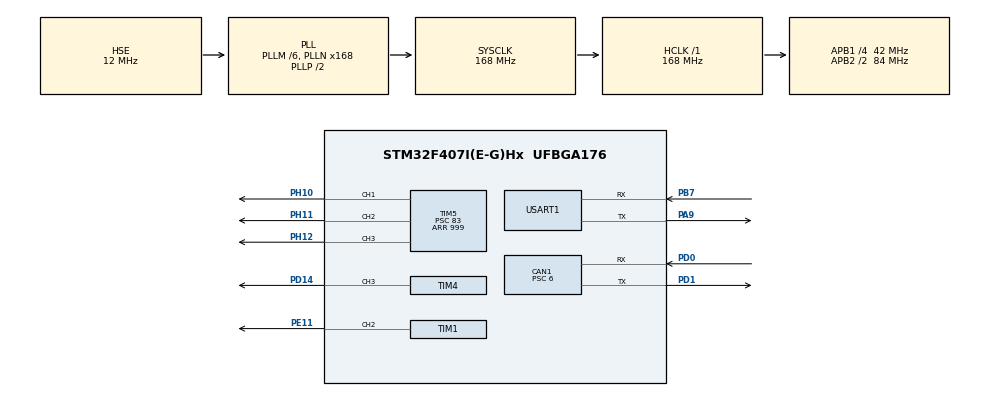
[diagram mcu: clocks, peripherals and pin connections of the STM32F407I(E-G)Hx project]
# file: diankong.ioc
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CAN1.BS1=CAN_BS1_4TQ
CAN1.BS2=CAN_BS2_2TQ
CAN1.CalculateBaudRate=1000000
CAN1.CalculateTimeBit=1000
CAN1.CalculateTimeQuantum=142.85714285714286
CAN1.Prescaler=6
Dma.Request0=USART1_RX
Dma.Request1=USART1_TX
Dma.USART1_RX.0.Direction=DMA_PERIPH_TO_MEMORY
Dma.USART1_RX.0.FIFOMode=DMA_FIFOMODE_DISABLE
Dma.USART1_RX.0.Instance=DMA2_Stream2
Dma.USART1_RX.0.MemDataAlignment=DMA_MDATAALIGN_BYTE
Dma.USART1_RX.0.MemInc=DMA_MINC_ENABLE
Dma.USART1_RX.0.Mode=DMA_NORMAL
Dma.USART1_RX.0.PeriphDataAlignment=DMA_PDATAALIGN_BYTE
Dma.USART1_RX.0.PeriphInc=DMA_PINC_DISABLE
Dma.USART1_RX.0.Priority=DMA_PRIORITY_LOW
Dma.USART1_TX.1.Direction=DMA_MEMORY_TO_PERIPH
Dma.USART1_TX.1.FIFOMode=DMA_FIFOMODE_DISABLE
Dma.USART1_TX.1.Instance=DMA2_Stream7
Dma.USART1_TX.1.MemDataAlignment=DMA_MDATAALIGN_BYTE
Dma.USART1_TX.1.MemInc=DMA_MINC_ENABLE
Dma.USART1_TX.1.Mode=DMA_NORMAL
Dma.USART1_TX.1.PeriphDataAlignment=DMA_PDATAALIGN_BYTE
Dma.USART1_TX.1.PeriphInc=DMA_PINC_DISABLE
Dma.USART1_TX.1.Priority=DMA_PRIORITY_LOW
FREERTOS.Tasks01=defaultTask,24,128,StartDefaultTask,Default,NULL,Dynamic,NULL,NULL;TaskLEDFlowing,8,128,StartTaskLEDFlowing,Default,NULL,Dynamic,NULL,NULL;TaskServo,24,128,StartTaskServo,Default,NULL,Dynamic,NULL,NULL;TaskMotor,24,1256,StartTaskMotor,Default,NULL,Dynamic,NULL,NULL
Mcu.Family=STM32F4
Mcu.Name=STM32F407I(E-G)Hx
Mcu.Package=UFBGA176
NVIC.CAN1_RX0_IRQn=true\:5\:0\:false\:false\:true\:true\:true\:true\:true
NVIC.DMA2_Stream2_IRQn=true\:5\:0\:false\:false\:true\:true\:false\:true\:true
NVIC.DMA2_Stream7_IRQn=true\:5\:0\:false\:false\:true\:true\:false\:true\:true
NVIC.PriorityGroup=NVIC_PRIORITYGROUP_4
NVIC.TIM6_DAC_IRQn=true\:15\:0\:false\:false\:true\:false\:false\:true\:true
NVIC.TimeBase=TIM6_DAC_IRQn
NVIC.TimeBaseIP=TIM6
NVIC.USART1_IRQn=true\:5\:0\:false\:false\:true\:true\:true\:true\:true
PA13.Mode=Serial_Wire
PA13.Signal=SYS_JTMS-SWDIO
PA14.Mode=Serial_Wire
PA14.Signal=SYS_JTCK-SWCLK
PA9.Mode=Asynchronous
PA9.Signal=USART1_TX
PB7.Mode=Asynchronous
PB7.Signal=USART1_RX
PD0.Mode=CAN_Activate
PD0.Signal=CAN1_RX
PD1.Mode=CAN_Activate
PD1.Signal=CAN1_TX
PD14.Signal=S_TIM4_CH3
PE11.Signal=S_TIM1_CH2
PH0-OSC_IN.Mode=HSE-External-Oscillator
PH0-OSC_IN.Signal=RCC_OSC_IN
PH1-OSC_OUT.Mode=HSE-External-Oscillator
PH1-OSC_OUT.Signal=RCC_OSC_OUT
PH10.Signal=S_TIM5_CH1
PH11.Signal=S_TIM5_CH2
PH12.Signal=S_TIM5_CH3
ProjectManager.HeapSize=0x200
ProjectManager.StackSize=0x400
ProjectManager.TargetToolchain=CMake
RCC.48MHZClocksFreq_Value=84000000
RCC.AHBFreq_Value=168000000
RCC.APB1CLKDivider=RCC_HCLK_DIV4
RCC.APB1Freq_Value=42000000
RCC.APB1TimFreq_Value=84000000
RCC.APB2CLKDivider=RCC_HCLK_DIV2
RCC.APB2Freq_Value=84000000
RCC.APB2TimFreq_Value=168000000
RCC.CortexFreq_Value=168000000
RCC.HCLKFreq_Value=168000000
RCC.HSE_VALUE=12000000
RCC.HSI_VALUE=16000000
RCC.LSE_VALUE=32768
RCC.PLLM=6
RCC.PLLN=168
RCC.PLLSourceVirtual=RCC_PLLSOURCE_HSE
RCC.SYSCLKFreq_VALUE=168000000
RCC.SYSCLKSource=RCC_SYSCLKSOURCE_PLLCLK
RCC.VCOOutputFreq_Value=336000000
SH.S_TIM1_CH2.0=TIM1_CH2,PWM Generation2 CH2
SH.S_TIM4_CH3.0=TIM4_CH3,PWM Generation3 CH3
SH.S_TIM5_CH1.0=TIM5_CH1,PWM Generation1 CH1
SH.S_TIM5_CH2.0=TIM5_CH2,PWM Generation2 CH2
SH.S_TIM5_CH3.0=TIM5_CH3,PWM Generation3 CH3
TIM1.Channel-PWM\ Generation2\ CH2=TIM_CHANNEL_2
TIM1.Period=19999
TIM1.Prescaler=167
TIM4.Channel-PWM\ Generation3\ CH3=TIM_CHANNEL_3
TIM4.Prescaler=83
TIM5.Channel-PWM\ Generation1\ CH1=TIM_CHANNEL_1
TIM5.Channel-PWM\ Generation2\ CH2=TIM_CHANNEL_2
TIM5.Channel-PWM\ Generation3\ CH3=TIM_CHANNEL_3
TIM5.Period=999
TIM5.Prescaler=83
USART1.VirtualMode=VM_ASYNC
VP_FREERTOS_VS_CMSIS_V2.Mode=CMSIS_V2
VP_SYS_VS_tim6.Mode=TIM6
VP_TIM1_VS_ClockSourceINT.Mode=Internal
VP_TIM5_VS_ClockSourceINT.Mode=Internal
board=custom

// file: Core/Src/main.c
/* USER CODE BEGIN Header */
/**
 ******************************************************************************
 * @file           : main.c
 * @brief          : Main program body
 ******************************************************************************
 * @attention
 *
 * Copyright (c) 2026 STMicroelectronics.
 * All rights reserved.
 *
 * This software is licensed under terms that can be found in the LICENSE file
 * in the root directory of this software component.
 * If no LICENSE file comes with this software, it is provided AS-IS.
 *
 ******************************************************************************
 */
/* USER CODE END Header */
#include "main.h"
#include "can.h"
#include "cmsis_os.h"
#include "dma.h"
#include "gpio.h"
#include "tim.h"
#include "usart.h"

/* USER CODE BEGIN Includes */
#include "buzzer.h"
/* USER CODE END Includes */

void SystemClock_Config(void);
extern "C"
{
  void MX_FREERTOS_Init(void);
}

int main(void)
{

  /* MCU Configuration--------------------------------------------------------*/

  /* Reset of all peripherals, Initializes the Flash interface and the Systick. */
  HAL_Init();

  /* Configure the system clock */
  SystemClock_Config();

  /* Initialize all configured peripherals */
  MX_GPIO_Init();
  MX_DMA_Init();
  MX_USART1_UART_Init();
  MX_TIM4_Init();
  MX_TIM5_Init();
  MX_TIM1_Init();
  MX_CAN1_Init();
  /* USER CODE BEGIN 2 */
  /* 上电蜂鸣器提示音：每次复位/烧录上电后都会响一次 */
  Buzzer_Init();
  Buzzer_PlayBootBeep();
  /* USER CODE END 2 */

  /* Init scheduler */
  osKernelInitialize(); /* Call init function for freertos objects (in cmsis_os2.c) */
  MX_FREERTOS_Init();

  /* Start scheduler */
  osKernelStart();

  /* We should never get here as control is now taken by the scheduler */

  /* Infinite loop */
  while (1)
  {

  }
}

void SystemClock_Config(void)
{
  RCC_OscInitTypeDef RCC_OscInitStruct = {0};
  RCC_ClkInitTypeDef RCC_ClkInitStruct = {0};

  /** Configure the main internal regulator output voltage
   */
  __HAL_RCC_PWR_CLK_ENABLE();
  __HAL_PWR_VOLTAGESCALING_CONFIG(PWR_REGULATOR_VOLTAGE_SCALE1);

  /** Initializes the RCC Oscillators according to the specified parameters
   * in the RCC_OscInitTypeDef structure.
   */
  RCC_OscInitStruct.OscillatorType = RCC_OSCILLATORTYPE_HSE;
  RCC_OscInitStruct.HSEState = RCC_HSE_ON;
  RCC_OscInitStruct.PLL.PLLState = RCC_PLL_ON;
  RCC_OscInitStruct.PLL.PLLSource = RCC_PLLSOURCE_HSE;
  RCC_OscInitStruct.PLL.PLLM = 6;
  RCC_OscInitStruct.PLL.PLLN = 168;
  RCC_OscInitStruct.PLL.PLLP = RCC_PLLP_DIV2;
  RCC_OscInitStruct.PLL.PLLQ = 4;
  if (HAL_RCC_OscConfig(&RCC_OscInitStruct) != HAL_OK)
  {
    Error_Handler();
  }

  /** Initializes the CPU, AHB and APB buses clocks
   */
  RCC_ClkInitStruct.ClockType = RCC_CLOCKTYPE_HCLK | RCC_CLOCKTYPE_SYSCLK | RCC_CLOCKTYPE_PCLK1 | RCC_CLOCKTYPE_PCLK2;
  RCC_ClkInitStruct.SYSCLKSource = RCC_SYSCLKSOURCE_PLLCLK;
  RCC_ClkInitStruct.AHBCLKDivider = RCC_SYSCLK_DIV1;
  RCC_ClkInitStruct.APB1CLKDivider = RCC_HCLK_DIV4;
  RCC_ClkInitStruct.APB2CLKDivider = RCC_HCLK_DIV2;

  if (HAL_RCC_ClockConfig(&RCC_ClkInitStruct, FLASH_LATENCY_5) != HAL_OK)
  {
    Error_Handler();
  }
}

void HAL_TIM_PeriodElapsedCallback(TIM_HandleTypeDef *htim)
{
  if (htim->Instance == TIM6)
  {
    HAL_IncTick();
  }
}

void Error_Handler(void)
{
  __disable_irq();
  while (1)
  {
  }
}

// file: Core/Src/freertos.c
/* USER CODE BEGIN Header */
/**
 ******************************************************************************
 * File Name          : freertos.c
 * Description        : Code for freertos applications
 ******************************************************************************
 * @attention
 *
 * Copyright (c) 2026 STMicroelectronics.
 * All rights reserved.
 *
 * This software is licensed under terms that can be found in the LICENSE file
 * in the root directory of this software component.
 * If no LICENSE file comes with this software, it is provided AS-IS.
 *
 ******************************************************************************
 */
/* USER CODE END Header */

#include "FreeRTOS.h"
#include "cmsis_os.h"
#include "main.h"
#include "task.h"

/* USER CODE BEGIN Includes */
#include "buzzer.h"
#include "motor.h"
#include "pid.h"
#include "synex.h" /* 上位机串口通信（JustFloat 上传 + 在线调参命令） */
#include "tim.h"   /* 使用 htim5 驱动流水灯 */

/* USER CODE END Includes */

/* Definitions for defaultTask */
osThreadId_t defaultTaskHandle;
const osThreadAttr_t defaultTask_attributes = {
    .name = "defaultTask",
    .stack_size = 128 * 4,
    .priority = (osPriority_t)osPriorityNormal,
};
/* Definitions for TaskLEDFlowing */
osThreadId_t TaskLEDFlowingHandle;
const osThreadAttr_t TaskLEDFlowing_attributes = {
    .name = "TaskLEDFlowing",
    .stack_size = 128 * 4,
    .priority = (osPriority_t)osPriorityLow,
};
/* Definitions for TaskServo */
osThreadId_t TaskServoHandle;
const osThreadAttr_t TaskServo_attributes = {
    .name = "TaskServo",
    .stack_size = 128 * 4,
    .priority = (osPriority_t)osPriorityNormal,
};
/* Definitions for TaskMotor */
osThreadId_t TaskMotorHandle;
const osThreadAttr_t TaskMotor_attributes = {
    .name = "TaskMotor",
    .stack_size = 1256 * 4,
    .priority = (osPriority_t)osPriorityNormal,
};

/* USER CODE END FunctionPrototypes */

void StartDefaultTask(void *argument);
void StartTaskLEDFlowing(void *argument);
void StartTaskServo(void *argument);
void StartTaskMotor(void *argument);

void MX_FREERTOS_Init(void); /* (MISRA C 2004 rule 8.1) */

void MX_FREERTOS_Init(void)
{

  /* Create the thread(s) */
  /* creation of defaultTask */
  defaultTaskHandle = osThreadNew(StartDefaultTask, NULL, &defaultTask_attributes);

  /* creation of TaskLEDFlowing */
  TaskLEDFlowingHandle = osThreadNew(StartTaskLEDFlowing, NULL, &TaskLEDFlowing_attributes);

  /* creation of TaskServo */
  TaskServoHandle = osThreadNew(StartTaskServo, NULL, &TaskServo_attributes);

  /* creation of TaskMotor */
  TaskMotorHandle = osThreadNew(StartTaskMotor, NULL, &TaskMotor_attributes);

}

void StartDefaultTask(void *argument)
{
  /* USER CODE BEGIN StartDefaultTask */

  /* 报错音调调用示例（可删除）：
   * 实际使用中，在检测到对应故障时调用即可：
   *   Buzzer_PlayErrorTone(BUZZER_ERR_1);   // 报错音调 1：小星星
   *   Buzzer_PlayErrorTone(BUZZER_ERR_2);   // 报错音调 2：欢乐颂
   * 下方演示：上电后各播放一次，便于听音确认两种音调正常。
   */
  // osDelay(1000);
  // Buzzer_PlayErrorTone(BUZZER_ERR_1);
  // osDelay(800);
  // Buzzer_PlayErrorTone(BUZZER_ERR_2);

  /* Infinite loop */
  for (;;)
  {
    /* ── 错误检测区：每圈检查一遍 ── */
    /* 其他模块检测到故障时，把对应标志置 1，这里就会播放报错音调：
     *   Buzzer_ErrFlag1 = 1;  → 播放《小星星》（报错音调 1）
     *   Buzzer_ErrFlag2 = 1;  → 播放《欢乐颂》（报错音调 2） */
    if (Buzzer_ErrFlag1 != 0U)
    {
      Buzzer_PlayErrorTone(BUZZER_ERR_1);
      Buzzer_ErrFlag1 = 0U;
    }
    if (Buzzer_ErrFlag2 != 0U)
    {
      Buzzer_PlayErrorTone(BUZZER_ERR_2);
      Buzzer_ErrFlag2 = 0U;
    }
    osDelay(10);
  }
  /* USER CODE END StartDefaultTask */
}

void StartTaskLEDFlowing(void *argument)
{
  /* USER CODE BEGIN StartTaskLEDFlowing */
  HAL_TIM_PWM_Start(&htim5, TIM_CHANNEL_1);
  HAL_TIM_PWM_Start(&htim5, TIM_CHANNEL_2);
  HAL_TIM_PWM_Start(&htim5, TIM_CHANNEL_3);
  /* Infinite loop */
  for (;;)
  {
    __HAL_TIM_SET_COMPARE(&htim5, TIM_CHANNEL_1, 999);
    __HAL_TIM_SET_COMPARE(&htim5, TIM_CHANNEL_2, 0);
    __HAL_TIM_SET_COMPARE(&htim5, TIM_CHANNEL_3, 0);
    osDelay(300);

    __HAL_TIM_SET_COMPARE(&htim5, TIM_CHANNEL_1, 0);
    __HAL_TIM_SET_COMPARE(&htim5, TIM_CHANNEL_2, 999);
    __HAL_TIM_SET_COMPARE(&htim5, TIM_CHANNEL_3, 0);
    osDelay(300);

    __HAL_TIM_SET_COMPARE(&htim5, TIM_CHANNEL_1, 0);
    __HAL_TIM_SET_COMPARE(&htim5, TIM_CHANNEL_2, 0);
    __HAL_TIM_SET_COMPARE(&htim5, TIM_CHANNEL_3, 999);
    osDelay(300);
  }
  /* USER CODE END StartTaskLEDFlowing */
}

void StartTaskServo(void *argument)
{
  /* USER CODE BEGIN StartTaskServo */
  /* Infinite loop */
  HAL_TIM_PWM_Start(&htim1, TIM_CHANNEL_2);
  __HAL_TIM_MOE_ENABLE(&htim1); /* 高级定时器必须打开主输出(MOE)，否则 PWM 不输出 */
  for (;;)
  {
    __HAL_TIM_SET_COMPARE(&htim1, TIM_CHANNEL_2, 500); /* 0° */
    osDelay(1000);
    __HAL_TIM_SET_COMPARE(&htim1, TIM_CHANNEL_2, 1000); /* 45° */
    osDelay(1000);
    __HAL_TIM_SET_COMPARE(&htim1, TIM_CHANNEL_2, 1500); /* 90° */
    osDelay(1000);
    __HAL_TIM_SET_COMPARE(&htim1, TIM_CHANNEL_2, 2000); /* 135° */
    osDelay(1000);
    __HAL_TIM_SET_COMPARE(&htim1, TIM_CHANNEL_2, 2500); /* 180° */
    osDelay(1000);
  }
  /* USER CODE END StartTaskServo */
}

void StartTaskMotor(void *argument)
{
  /* USER CODE BEGIN StartTaskMotor */

  /* 电机与串口初始化（只一次） */
  Motor_Init();
  Synex_Init();

  /* 角度环 PID 增益：初值可被 Synex 命令在线修改 */
  float kp_angle = 27.0f;
  float ki_angle = 2.0f;
  float kd_angle = 0.0f;

  /* 双环 PID：角度环(外) → 速度环(内) */
  PID_t angle_pid;
  PID_Init(&angle_pid, kp_angle, ki_angle, kd_angle, 200.0f);
  PID_t speed_pid;
  PID_Init(&speed_pid, 20.0f, 0.0f, 0.0f, 6000.0f);

  float target_pos = 0.0f;      /* 目标角度（精确两秒轨迹生成） */
  float last_target = 0.0f;     /* 上一次的目标角度（判断是否反向） */
  float last_motion_dir = 0.0f; /* 上一次目标移动方向 +1/-1/0 */
  uint32_t t0 = osKernelGetTickCount();
  uint32_t last_t = t0;
  uint32_t send_tick = 0U; /* 串口上传节流计数 */

  /* Infinite loop */
  for (;;)
  {
    uint32_t now_t = osKernelGetTickCount();
    float dt = (float)(now_t - last_t) / 1000.0f; /* 距上一周期(秒) */
    last_t = now_t;
    float t = (float)(now_t - t0) / 1000.0f;

    /* 精确两秒轨迹：同时给目标角度和"目标速度前馈"
     * 0~1s：0°→90°，目标速度 +90°/s
     * 1~2s：90°→-90°，目标速度 -180°/s
     * 2s 后：保持 -90° */
    float traj_vel = 0.0f;
    if (t < 1.0f)
    {
      target_pos = 90.0f * t;
      traj_vel = 90.0f;
    }
    else if (t < 2.0f)
    {
      target_pos = 90.0f - 180.0f * (t - 1.0f);
      traj_vel = -180.0f;
    }
    else
    {
      target_pos = -90.0f;
      traj_vel = 0.0f;
    }

    /* 目标反向时清积分：避免往 +90° 积攒的正积分，反向时扯后腿 */
    float motion = target_pos - last_target;
    float motion_dir = (motion > 0.001f) ? 1.0f : ((motion < -0.001f) ? -1.0f : last_motion_dir);
    if ((last_motion_dir != 0.0f) && (motion_dir != last_motion_dir))
    {
      angle_pid.integral = 0.0f;
      angle_pid.prev_error = 0.0f;
      speed_pid.integral = 0.0f;
      speed_pid.prev_error = 0.0f;
    }
    last_motion_dir = motion_dir;
    last_target = target_pos;

    float now_angle = Motor_GetAngleDeg();       /* 当前输出轴角度(°) */
    float now_speed = Motor_GetSpeedDegPerSec(); /* 当前输出轴角速度(°/s) */

    /* 在线调参：若 Synex 发来 kp/ki/kd=X，更新增益 */
    {
      float val;
      uint8_t cmd = Synex_PollCommand(&val);
      if (cmd == 1u)
      {
        kp_angle = val;
      }
      else if (cmd == 2u)
      {
        ki_angle = val;
      }
      else if (cmd == 3u)
      {
        kd_angle = val;
      }
    }
    angle_pid.kp = kp_angle; /* 让新增益立刻生效 */
    angle_pid.ki = ki_angle;
    angle_pid.kd = kd_angle;

    /* 外环：角度 PID 纠偏 + 前馈目标速度（立即给足速度，不靠误差慢慢加） */
    angle_pid.target = target_pos;
    float target_speed = PID_Calc(&angle_pid, now_angle, dt) + traj_vel;

    /* 内环：转速误差 → 电流指令 */
    speed_pid.target = target_speed;
    float current = PID_Calc(&speed_pid, now_speed, dt);

    Motor_SendCurrent(0, (int16_t)current, 0, 0); /* 发给电机1（第2槽）电流 */

    /* 每 10ms 上传一帧 JustFloat 波形 */
    if (++send_tick >= 10U)
    {
      send_tick = 0U;
      Synex_Send(now_angle, target_pos, now_speed, (float)current,
                 kp_angle, ki_angle, kd_angle);
    }

    osDelay(1); /* 1kHz 控制周期 */
  }
  /* USER CODE END StartTaskMotor */
}
